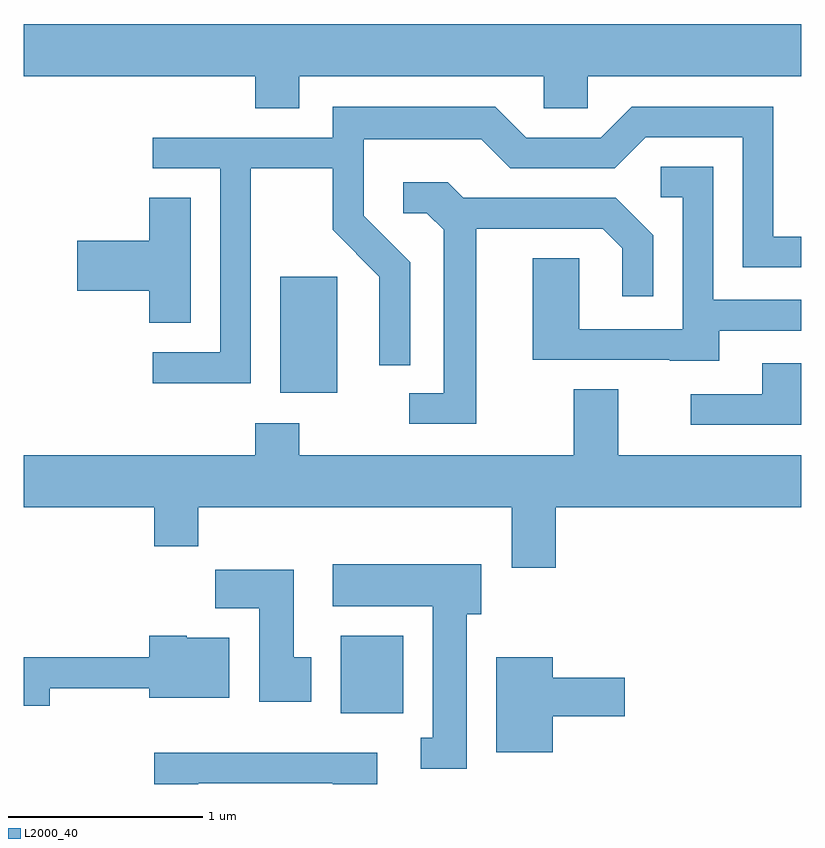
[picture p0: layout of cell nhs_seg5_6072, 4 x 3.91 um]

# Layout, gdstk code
import gdstk
lib = gdstk.Library(unit=1e-6, precision=1e-09)
def R(c, l, rs):  # rectangles x0, y0, x1, y1
    for r in rs: c.add(gdstk.rectangle(r[:2], r[2:], *l))
def P(c, l, *ps):  # polygons
    for p in ps: c.add(gdstk.Polygon(p, *l))
L2000_40 = (2000, 40)

nhs_seg5_6072 = lib.new_cell('nhs_seg5_6072')
R(nhs_seg5_6072, L2000_40, [(367.241,1422.436,367.564,1422.834), (366.931,1424.086,367.224,1424.684)])
P(nhs_seg5_6072, L2000_40, [(367.029,1425.716),(368.286,1425.716),(368.286,1425.551),(368.514,1425.551),(368.514,1425.716),(369.611,1425.716),(369.611,1425.984),(365.611,1425.984),(365.611,1425.716),(366.801,1425.716),(366.801,1425.551),(367.029,1425.551)],
  [(366.779,1425.241),(367.201,1425.241),(367.201,1424.924),(367.441,1424.684),(367.441,1424.228),(367.599,1424.228),(367.599,1424.757),(367.359,1424.997),(367.359,1425.391),(367.964,1425.391),(368.114,1425.241),(368.652,1425.241),(368.812,1425.401),(369.311,1425.401),(369.311,1424.731),(369.611,1424.731),(369.611,1424.889),(369.469,1424.889),(369.469,1425.559),(368.739,1425.559),(368.579,1425.399),(368.197,1425.399),(368.037,1425.559),(367.201,1425.559),(367.201,1425.399),(366.273,1425.399),(366.273,1425.241),(366.621,1425.241),(366.621,1424.294),(366.273,1424.294),(366.273,1424.136),(366.779,1424.136)],
  [(369.189,1424.406),(369.611,1424.406),(369.611,1424.564),(369.159,1424.564),(369.159,1425.249),(368.888,1425.249),(368.888,1425.091),(369.001,1425.091),(369.001,1424.414),(368.469,1424.414),(368.469,1424.779),(368.231,1424.779),(368.231,1424.256),(368.935,1424.256),(368.935,1424.251),(369.189,1424.251)],
  [(367.939,1424.931),(368.589,1424.931),(368.691,1424.829),(368.691,1424.583),(368.849,1424.583),(368.849,1424.897),(368.657,1425.089),(367.872,1425.089),(367.792,1425.169),(367.563,1425.169),(367.563,1425.011),(367.684,1425.011),(367.771,1424.924),(367.771,1424.084),(367.593,1424.084),(367.593,1423.926),(367.939,1423.926)],
  [(366.469,1425.089),(366.256,1425.089),(366.256,1424.869),(365.886,1424.869),(365.886,1424.611),(366.256,1424.611),(366.256,1424.446),(366.469,1424.446)],
  [(369.611,1424.239),(369.411,1424.239),(369.411,1424.079),(369.043,1424.079),(369.043,1423.921),(369.611,1423.921)],
  [(368.349,1423.496),(369.611,1423.496),(369.611,1423.764),(368.669,1423.764),(368.669,1424.104),(368.441,1424.104),(368.441,1423.764),(367.029,1423.764),(367.029,1423.929),(366.801,1423.929),(366.801,1423.764),(365.611,1423.764),(365.611,1423.496),(366.281,1423.496),(366.281,1423.296),(366.509,1423.296),(366.509,1423.496),(368.121,1423.496),(368.121,1423.186),(368.349,1423.186)],
  [(367.889,1422.946),(367.964,1422.946),(367.964,1423.204),(367.201,1423.204),(367.201,1422.986),(367.716,1422.986),(367.716,1422.309),(367.653,1422.309),(367.653,1422.151),(367.889,1422.151)],
  [(367.089,1422.724),(366.999,1422.724),(366.999,1423.174),(366.596,1423.174),(366.596,1422.976),(366.821,1422.976),(366.821,1422.496),(367.089,1422.496)],
  [(365.744,1422.566),(366.256,1422.566),(366.256,1422.516),(366.669,1422.516),(366.669,1422.824),(366.45,1422.824),(366.45,1422.834),(366.256,1422.834),(366.256,1422.724),(365.611,1422.724),(365.611,1422.476),(365.744,1422.476)],
  [(368.334,1422.421),(368.704,1422.421),(368.704,1422.619),(368.334,1422.619),(368.334,1422.724),(368.041,1422.724),(368.041,1422.236),(368.334,1422.236)],
  [(366.509,1422.076),(367.201,1422.076),(367.201,1422.072),(367.429,1422.072),(367.429,1422.234),(366.281,1422.234),(366.281,1422.072),(366.509,1422.072)])

lib.write_gds('nhs_seg5_6072.gds')
